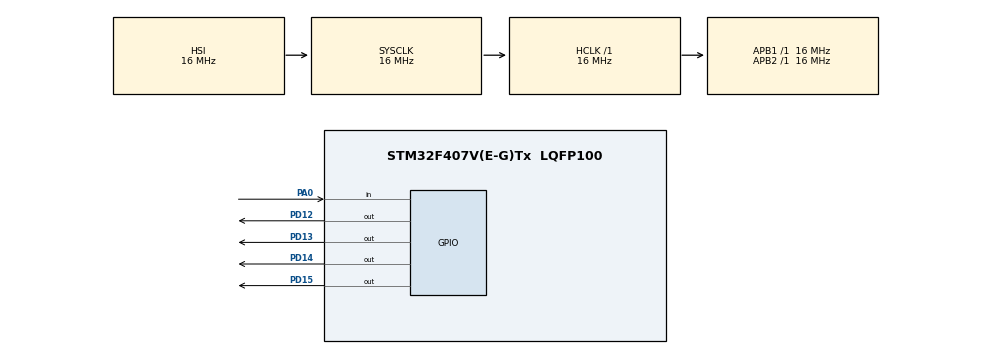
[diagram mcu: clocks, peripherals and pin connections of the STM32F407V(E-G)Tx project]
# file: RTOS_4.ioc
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Mcu.Family=STM32F4
Mcu.Name=STM32F407V(E-G)Tx
Mcu.Package=LQFP100
NVIC.PriorityGroup=NVIC_PRIORITYGROUP_4
NVIC.TIM1_UP_TIM10_IRQn=true\:15\:0\:false\:false\:true\:false\:true\:true
NVIC.TimeBase=TIM1_UP_TIM10_IRQn
NVIC.TimeBaseIP=TIM1
PA0-WKUP.Signal=GPIO_Input
PD12.Signal=GPIO_Output
PD13.Signal=GPIO_Output
PD14.Signal=GPIO_Output
PD15.Signal=GPIO_Output
ProjectManager.HeapSize=0x200
ProjectManager.StackSize=0x400
ProjectManager.TargetToolchain=STM32CubeIDE
RCC.AHBFreq_Value=16000000
RCC.APB1Freq_Value=16000000
RCC.APB2Freq_Value=16000000
RCC.CortexFreq_Value=16000000
RCC.HSE_VALUE=25000000
RCC.HSI_VALUE=16000000
RCC.LSE_VALUE=32768
RCC.SYSCLKFreq_VALUE=16000000
RCC.VCOOutputFreq_Value=192000000
VP_SYS_VS_tim1.Mode=TIM1
board=custom

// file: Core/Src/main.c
/* USER CODE BEGIN Header */
/**
  ******************************************************************************
  * @file           : main.c
  * @brief          : Main program body
  ******************************************************************************
  * @attention
  *
  * Copyright (c) 2026 STMicroelectronics.
  * All rights reserved.
  *
  * This software is licensed under terms that can be found in the LICENSE file
  * in the root directory of this software component.
  * If no LICENSE file comes with this software, it is provided AS-IS.
  *
  ******************************************************************************
  */
/* USER CODE END Header */
#include "main.h"

/* USER CODE BEGIN Includes */
#include "FreeRTOS.h"
#include "task.h"
#include "timers.h"
#include "queue.h"
#include "semphr.h"
#include "event_groups.h"
#include "SEGGER_SYSVIEW.h"
#include "Disc_F407.h"
/* USER CODE END Includes */

void SystemClock_Config(void);
static void MX_GPIO_Init(void);
/* USER CODE BEGIN PFP */
void GreenTask(void *argument);
void BlueTask(void *argument);
void RedTask(void *argument);
void lookBusy( void );
/* USER CODE END PFP */

/* USER CODE BEGIN 0 */
//the address of blueTaskHandle greenTaskHandle is passed to xTaskCreate.
TaskHandle_t blueTaskHandle;
TaskHandle_t greenTaskHandle;

// some common variables to use for each task
// 128 * 4 = 512 bytes
//(recommended min stack size per task)
#define STACK_SIZE 128
/* USER CODE END 0 */

int main(void)
{

  /* MCU Configuration--------------------------------------------------------*/

  /* Reset of all peripherals, Initializes the Flash interface and the Systick. */
  HAL_Init();

  /* Configure the system clock */
  SystemClock_Config();

  /* Initialize all configured peripherals */
  MX_GPIO_Init();
  /* USER CODE BEGIN 2 */
  SEGGER_SYSVIEW_Conf();

    if (xTaskCreate(GreenTask, "GreenTask", STACK_SIZE, NULL, tskIDLE_PRIORITY + 2, &greenTaskHandle) != pdPASS){ while(1); }

    //using an assert to ensure proper task creation
    assert_param(xTaskCreate(BlueTask, "BlueTask", STACK_SIZE, NULL, tskIDLE_PRIORITY + 1, &blueTaskHandle) == pdPASS);

    xTaskCreate(RedTask, "RedTask", STACK_SIZE, NULL,tskIDLE_PRIORITY + 1, NULL);

    	//start the scheduler - shouldn't return unless there's a problem
    vTaskStartScheduler();
  /* USER CODE END 2 */

  /* Infinite loop */
  while (1)
  {

  }
}

void SystemClock_Config(void)
{
  RCC_OscInitTypeDef RCC_OscInitStruct = {0};
  RCC_ClkInitTypeDef RCC_ClkInitStruct = {0};

  /** Configure the main internal regulator output voltage
  */
  __HAL_RCC_PWR_CLK_ENABLE();
  __HAL_PWR_VOLTAGESCALING_CONFIG(PWR_REGULATOR_VOLTAGE_SCALE1);

  /** Initializes the RCC Oscillators according to the specified parameters
  * in the RCC_OscInitTypeDef structure.
  */
  RCC_OscInitStruct.OscillatorType = RCC_OSCILLATORTYPE_HSI;
  RCC_OscInitStruct.HSIState = RCC_HSI_ON;
  RCC_OscInitStruct.HSICalibrationValue = RCC_HSICALIBRATION_DEFAULT;
  RCC_OscInitStruct.PLL.PLLState = RCC_PLL_NONE;
  if (HAL_RCC_OscConfig(&RCC_OscInitStruct) != HAL_OK)
  {
    Error_Handler();
  }

  /** Initializes the CPU, AHB and APB buses clocks
  */
  RCC_ClkInitStruct.ClockType = RCC_CLOCKTYPE_HCLK|RCC_CLOCKTYPE_SYSCLK
                              |RCC_CLOCKTYPE_PCLK1|RCC_CLOCKTYPE_PCLK2;
  RCC_ClkInitStruct.SYSCLKSource = RCC_SYSCLKSOURCE_HSI;
  RCC_ClkInitStruct.AHBCLKDivider = RCC_SYSCLK_DIV1;
  RCC_ClkInitStruct.APB1CLKDivider = RCC_HCLK_DIV1;
  RCC_ClkInitStruct.APB2CLKDivider = RCC_HCLK_DIV1;

  if (HAL_RCC_ClockConfig(&RCC_ClkInitStruct, FLASH_LATENCY_0) != HAL_OK)
  {
    Error_Handler();
  }
}

static void MX_GPIO_Init(void)
{
  GPIO_InitTypeDef GPIO_InitStruct = {0};

  /* GPIO Ports Clock Enable */
  __HAL_RCC_GPIOA_CLK_ENABLE();
  __HAL_RCC_GPIOD_CLK_ENABLE();

  /*Configure GPIO pin Output Level */
  HAL_GPIO_WritePin(GPIOD, GPIO_PIN_12|GPIO_PIN_13|GPIO_PIN_14|GPIO_PIN_15, GPIO_PIN_RESET);

  /*Configure GPIO pin : PA0 */
  GPIO_InitStruct.Pin = GPIO_PIN_0;
  GPIO_InitStruct.Mode = GPIO_MODE_INPUT;
  GPIO_InitStruct.Pull = GPIO_NOPULL;
  HAL_GPIO_Init(GPIOA, &GPIO_InitStruct);

  /*Configure GPIO pins : PD12 PD13 PD14 PD15 */
  GPIO_InitStruct.Pin = GPIO_PIN_12|GPIO_PIN_13|GPIO_PIN_14|GPIO_PIN_15;
  GPIO_InitStruct.Mode = GPIO_MODE_OUTPUT_PP;
  GPIO_InitStruct.Pull = GPIO_NOPULL;
  GPIO_InitStruct.Speed = GPIO_SPEED_FREQ_LOW;
  HAL_GPIO_Init(GPIOD, &GPIO_InitStruct);

}

/* USER CODE BEGIN 4 */
void GreenTask(void *argument)
{
	// green led will fast blink 5 times then will get suspended
	// then it will resume the blinking again when blue led task send resume call
	while(1)
	{
		uint8_t count = 0;
		while(count !=5) // loop works 5 time and blink green LED
		{
			SEGGER_SYSVIEW_PrintfHost("GreenTaskRunning\n");
			GreenLed.On();
			vTaskDelay(100/ portTICK_PERIOD_MS);
			GreenLed.Off();
			vTaskDelay(100 / portTICK_PERIOD_MS);
			count++;
		}
		count = 0;
		vTaskSuspend(greenTaskHandle); // suspend task indefinitely
		vTaskDelay(1000 / portTICK_PERIOD_MS); // added delay of 1 second after task resumes before re-entering the loop

	}
}

void BlueTask( void* argument )
{
	while(1)
	{
		SEGGER_SYSVIEW_PrintfHost("BlueTaskRunning\n");
		BlueLed.On();
		vTaskDelay(500 / portTICK_PERIOD_MS);

		// when blue led is on
		// using greenTaskHandler resume the green led blinking
		vTaskResume(greenTaskHandle);

		BlueLed.Off();
		vTaskDelay(500 / portTICK_PERIOD_MS);

	}
}

void RedTask( void* argument )
{
	while(1)
	{
		lookBusy();

		SEGGER_SYSVIEW_PrintfHost("RedTaskRunning\n");
		RedLed.On();
		vTaskDelay(500/ portTICK_PERIOD_MS);
		RedLed.Off();
		vTaskDelay(500/ portTICK_PERIOD_MS);
	}
}

void lookBusy( void )
{
	volatile uint32_t dontCare = 0;
	for(int i = 0; i < 50E3; i++)
	{
		dontCare = i % 4;
	}
	SEGGER_SYSVIEW_PrintfHost("looking busy %d\n", dontCare);
}
/* USER CODE END 4 */

void HAL_TIM_PeriodElapsedCallback(TIM_HandleTypeDef *htim)
{
  if (htim->Instance == TIM1)
  {
    HAL_IncTick();
  }
}

void Error_Handler(void)
{
  __disable_irq();
  while (1)
  {
  }
}

#ifdef  USE_FULL_ASSERT
/**
  * @brief  Reports the name of the source file and the source line number
  *         where the assert_param error has occurred.
  * @param  file: pointer to the source file name
  * @param  line: assert_param error line source number
  * @retval None
  */
void assert_failed(uint8_t *file, uint32_t line)
{
  /* USER CODE BEGIN 6 */
	SEGGER_SYSVIEW_PrintfHost("Assertion Failed:file %s on line %d\r\n", file, line);
		  while(1);
  /* User can add his own implementation to report the file name and line number,
     ex: printf("Wrong parameters value: file %s on line %d\r\n", file, line) */
  /* USER CODE END 6 */
}
#endif /* USE_FULL_ASSERT */
